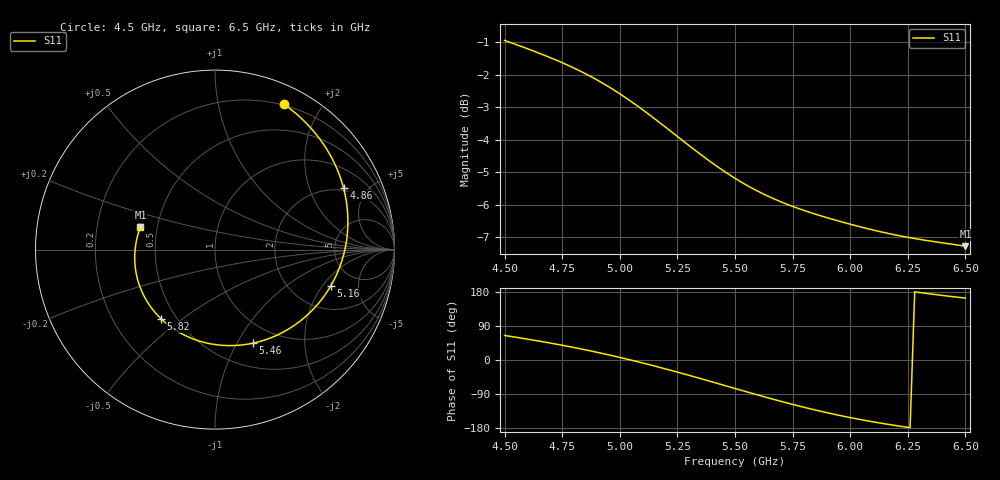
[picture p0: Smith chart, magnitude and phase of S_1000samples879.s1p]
! TOUCHSTONE file generated by CST MICROWAVE STUDIO
! Date and time: Sat Oct 29 16:31:54 2022
! Project name: L.cst
! Parameters = {Di=1.27; Epsilon_r=1.56; InnerDiameter=1.27; Length=2; Lf=10; Lg=60; OuterConductorThickness=0.2921; OuterDiameter=3.6; Wf=3; Wp=41.2; de=1.5; df=6.8; g=0.8; gx=1.19815; gy=0.657054; h=2.34; hf=1.524; px=9.14726; py=8.7116; w=9.7; wx=7.94911; wy=8.05455}
! Header version: 2018
! Port assignment regex: !\s*Touchstone port\s*([0-9]+)\s*=\s*(CST MWS port|CST DS port)\s*([0-9]+|Zmin|Zmax)\s*\(\"(.*)\"\)(\s*mode\s*([0-9]+))?.*
! Touchstone port assignment:
! Touchstone port 1 = CST MWS port 1 ("")
# GHz S DB R 50
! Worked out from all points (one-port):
!   101 points, 4.5 GHz to 6.5 GHz, reference 50 ohm
!   lowest |S11| = -7.3 dB at 6.5 GHz (marker M1), VSWR 2.53, Z = 20.1 + j6.11 ohm
!   |S11| at or under -10 dB: nowhere
!   S11 on the Smith chart (normalised r, x): 4.5 GHz: 0.19, +1.56; 4.86 GHz: 1.86, +3.46; 5.16 GHz: 3.26, -2.42; 5.46 GHz: 0.76, -1.16; 5.82 GHz: 0.41, -0.42; 6.5 GHz: 0.40, +0.12
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4.5  -0.94 64.8
4.58  -1.15 57.0
4.64  -1.31 50.9
4.7  -1.48 44.5
4.76  -1.66 37.7
4.86  -2.00 25.6
4.94  -2.32 15.1
5  -2.58 6.8
5.08  -2.98 -5.0
5.16  -3.40 -17.3
5.2  -3.62 -23.8
5.26  -3.95 -33.6
5.32  -4.28 -43.8
5.36  -4.50 -50.7
5.42  -4.81 -61.1
5.46  -5.00 -68.1
5.5  -5.18 -75.1
5.56  -5.43 -85.6
5.62  -5.65 -95.9
5.68  -5.85 -105.9
5.76  -6.07 -118.7
5.82  -6.22 -127.8
5.9  -6.39 -139.1
6  -6.59 -152.0
6.12  -6.81 -165.4
6.26  -7.01 -178.5
6.38  -7.14 171.9
6.5  -7.27 163.5
